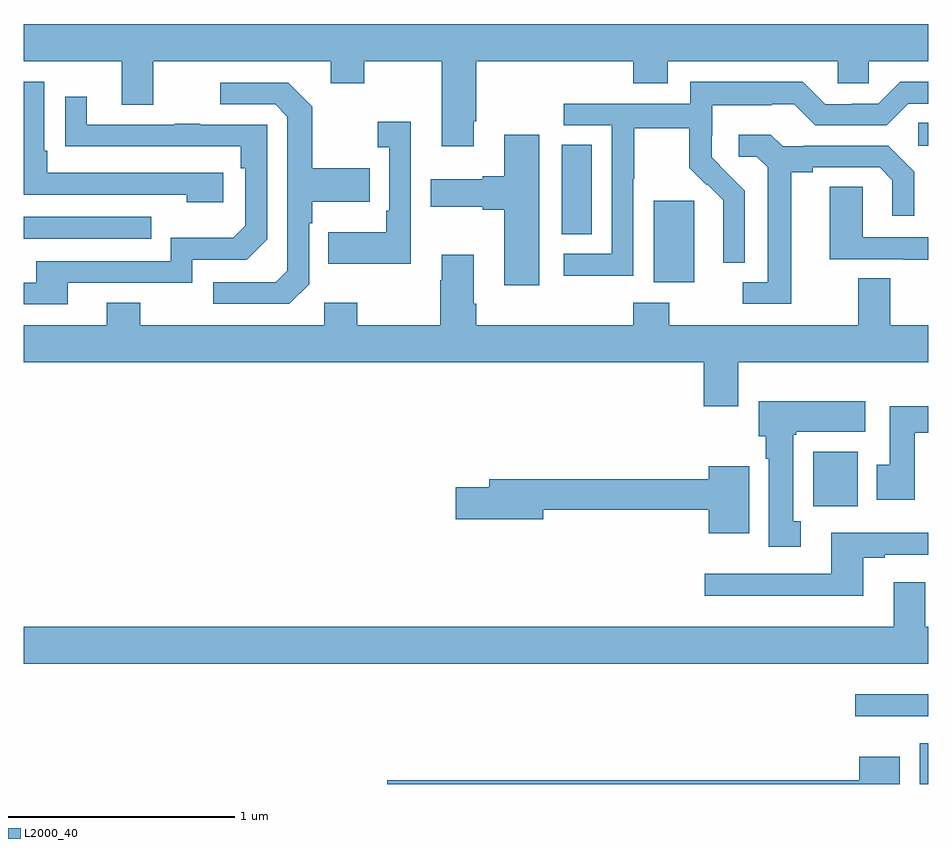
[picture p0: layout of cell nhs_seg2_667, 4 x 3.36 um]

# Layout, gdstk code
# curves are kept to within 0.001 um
import gdstk
lib = gdstk.Library(unit=1e-6, precision=1e-09)
def R(c, l, rs):  # rectangles x0, y0, x1, y1
    for r in rs: c.add(gdstk.rectangle(r[:2], r[2:], *l))
def P(c, l, *ps):  # polygons
    for p in ps: c.add(gdstk.Polygon(p, *l))
L2000_40 = (2000, 40)

nhs_seg2_667 = lib.new_cell('nhs_seg2_667')
R(nhs_seg2_667, L2000_40, [(148.961,617.8,149,617.98), (148.677,618.099,149,618.196), (148.49,619.028,148.687,619.27), (147.785,620.018,147.964,620.379), (145,620.211,145.565,620.307), (147.38,620.23,147.511,620.627), (148.956,620.622,149,620.723)])
P(nhs_seg2_667, L2000_40, [(146.989,620.731),(147.002,620.731),(147.002,620.996),(147.695,620.996),(147.695,620.897),(147.847,620.897),(147.847,620.996),(148.599,620.996),(148.599,620.898),(148.737,620.898),(148.737,620.996),(149,620.996),(149,621.16),(145,621.16),(145,620.996),(145.433,620.996),(145.433,620.802),(145.573,620.802),(145.573,620.996),(146.357,620.996),(146.357,620.897),(146.505,620.897),(146.505,620.996),(146.849,620.996),(146.849,620.619),(146.989,620.619)],
  [(147.696,620.476),(147.699,620.476),(147.699,620.7),(147.943,620.7),(147.943,620.525),(148.02,620.448),(148.023,620.451),(148.094,620.381),(148.094,620.258),(148.092,620.258),(148.092,620.104),(148.188,620.104),(148.188,620.422),(148.042,620.57),(148.042,620.667),(148.044,620.667),(148.044,620.801),(148.307,620.801),(148.307,620.805),(148.407,620.805),(148.5,620.712),(148.815,620.712),(148.911,620.808),(149,620.808),(149,620.904),(148.875,620.904),(148.779,620.808),(148.661,620.808),(148.661,620.805),(148.545,620.805),(148.445,620.905),(147.948,620.905),(147.948,620.808),(147.387,620.808),(147.387,620.712),(147.6,620.712),(147.6,620.145),(147.387,620.145),(147.387,620.047),(147.696,620.047)],
  [(145.882,620.502),(145.105,620.502),(145.105,620.599),(145.092,620.599),(145.092,620.904),(145,620.904),(145,620.406),(145.721,620.406),(145.721,620.372),(145.882,620.372)],
  [(146.262,620.01),(146.262,620.279),(146.275,620.279),(146.275,620.375),(146.531,620.375),(146.531,620.523),(146.275,620.523),(146.275,620.795),(146.169,620.901),(145.869,620.901),(145.869,620.805),(146.112,620.805),(146.166,620.751),(146.166,620.07),(146.115,620.019),(145.839,620.019),(145.839,619.923),(146.175,619.923)],
  [(145.195,620.016),(145.746,620.016),(145.746,620.118),(145.986,620.118),(146.076,620.208),(146.076,620.715),(145.781,620.715),(145.781,620.72),(145.669,620.72),(145.669,620.715),(145.279,620.715),(145.279,620.839),(145.183,620.839),(145.183,620.62),(145.96,620.619),(145.96,620.522),(145.98,620.522),(145.98,620.268),(145.927,620.215),(145.65,620.215),(145.65,620.112),(145.055,620.112),(145.055,620.016),(145,620.016),(145,619.92),(145.195,619.92)],
  [(146.712,620.728),(146.565,620.728),(146.565,620.615),(146.616,620.615),(146.616,620.335),(146.604,620.335),(146.604,620.239),(146.347,620.239),(146.347,620.099),(146.712,620.099)],
  [(148.393,620.504),(148.489,620.504),(148.489,620.526),(148.784,620.526),(148.841,620.469),(148.841,620.313),(148.938,620.313),(148.938,620.506),(148.822,620.622),(148.45,620.622),(148.45,620.619),(148.356,620.619),(148.304,620.671),(148.161,620.671),(148.161,620.574),(148.242,620.574),(148.289,620.527),(148.289,620.019),(148.179,620.019),(148.179,619.923),(148.393,619.923)],
  [(147.28,620.671),(147.125,620.671),(147.125,620.486),(147.029,620.486),(147.029,620.473),(146.799,620.473),(146.799,620.351),(147.029,620.351),(147.029,620.339),(147.125,620.339),(147.125,620.004),(147.28,620.004)],
  [(149,620.217),(148.71,620.217),(148.71,620.441),(148.565,620.441),(148.565,620.121),(148.889,620.121),(148.889,620.117),(149,620.117)],
  [(148.159,619.664),(149,619.664),(149,619.828),(148.831,619.828),(148.831,620.036),(148.691,620.036),(148.691,619.828),(147.855,619.828),(147.855,619.927),(147.695,619.927),(147.695,619.828),(147.002,619.828),(147.002,619.924),(146.989,619.924),(146.989,620.14),(146.849,620.14),(146.849,620.027),(146.842,620.027),(146.842,619.828),(146.475,619.828),(146.475,619.927),(146.328,619.927),(146.328,619.828),(145.515,619.828),(145.515,619.927),(145.367,619.927),(145.367,619.828),(145,619.828),(145,619.664),(148.007,619.664),(148.007,619.47),(148.159,619.47)],
  [(148.435,618.962),(148.402,618.962),(148.402,619.345),(148.416,619.345),(148.416,619.358),(148.72,619.358),(148.72,619.492),(148.25,619.492),(148.25,619.338),(148.28,619.338),(148.28,619.238),(148.295,619.238),(148.295,618.849),(148.435,618.849)],
  [(148.939,619.352),(149,619.352),(149,619.471),(148.829,619.471),(148.829,619.212),(148.772,619.212),(148.772,619.056),(148.939,619.056)],
  [(148.207,619.204),(148.028,619.204),(148.028,619.148),(147.059,619.148),(147.059,619.112),(146.91,619.112),(146.91,618.97),(147.298,618.97),(147.298,619.012),(148.028,619.012),(148.028,618.908),(148.207,618.908)],
  [(148.711,618.801),(148.807,618.801),(148.807,618.813),(149,618.813),(149,618.91),(148.571,618.91),(148.571,618.729),(148.011,618.729),(148.011,618.632),(148.711,618.632)],
  [(149,618.496),(148.987,618.496),(148.987,618.691),(148.847,618.691),(148.847,618.496),(145,618.496),(145,618.332),(149,618.332)],
  [(148.873,617.92),(148.694,617.92),(148.694,617.816),(146.608,617.816),(146.608,617.8),(148.873,617.8)])

lib.write_gds('nhs_seg2_667.gds')
